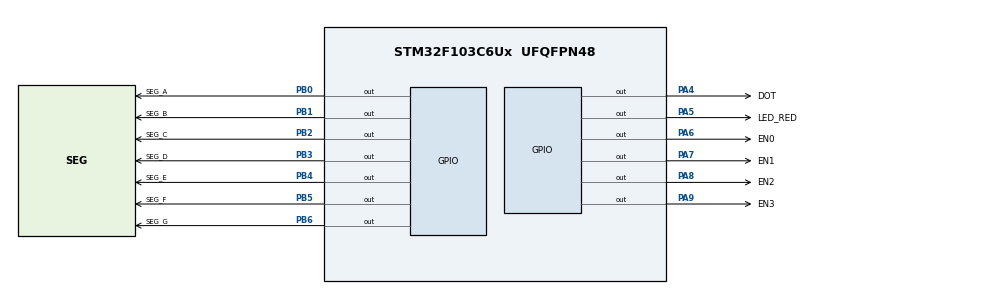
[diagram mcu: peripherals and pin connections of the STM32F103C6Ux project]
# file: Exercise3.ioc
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Mcu.Family=STM32F1
Mcu.Name=STM32F103C6Ux
Mcu.Package=UFQFPN48
NVIC.PriorityGroup=NVIC_PRIORITYGROUP_4
NVIC.TIM2_IRQn=true\:0\:0\:false\:false\:true\:true\:true
PA4.GPIO_Label=DOT
PA4.PinState=GPIO_PIN_SET
PA4.Signal=GPIO_Output
PA5.GPIO_Label=LED_RED
PA5.PinState=GPIO_PIN_SET
PA5.Signal=GPIO_Output
PA6.GPIO_Label=EN0
PA6.PinState=GPIO_PIN_SET
PA6.Signal=GPIO_Output
PA7.GPIO_Label=EN1
PA7.Signal=GPIO_Output
PA8.GPIO_Label=EN2
PA8.Signal=GPIO_Output
PA9.GPIO_Label=EN3
PA9.Signal=GPIO_Output
PB0.GPIO_Label=SEG_A
PB0.Signal=GPIO_Output
PB1.GPIO_Label=SEG_B
PB1.Signal=GPIO_Output
PB2.GPIO_Label=SEG_C
PB2.Signal=GPIO_Output
PB3.GPIO_Label=SEG_D
PB3.Signal=GPIO_Output
PB4.GPIO_Label=SEG_E
PB4.Signal=GPIO_Output
PB5.GPIO_Label=SEG_F
PB5.Signal=GPIO_Output
PB6.GPIO_Label=SEG_G
PB6.Signal=GPIO_Output
ProjectManager.HeapSize=0x200
ProjectManager.StackSize=0x400
ProjectManager.TargetToolchain=STM32CubeIDE
RCC.APB1Freq_Value=8000000
RCC.APB2Freq_Value=8000000
TIM2.Period=9
TIM2.Prescaler=7999
VP_SYS_VS_ND.Mode=No_Debug
VP_TIM2_VS_ClockSourceINT.Mode=Internal
board=custom

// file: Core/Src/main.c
/* USER CODE BEGIN Header */
/**
  * @file           : main.c
  * @brief          : Exercise 3 - update7SEG
  */
/* USER CODE END Header */
#include "main.h"

TIM_HandleTypeDef htim2;

/* USER CODE BEGIN PV */
const int MAX_LED = 4;
int index_led = 0;
int led_buffer[4] = {1, 2, 3, 4};

int counter = 0;        // dem so lan ngat (10ms) cho 7SEG
int led_state = 0;      // trang thai DOT
int led_counter = 0;    // dem so lan ngat cho DOT
/* USER CODE END PV */

void SystemClock_Config(void);
static void MX_GPIO_Init(void);
static void MX_TIM2_Init(void);
/* USER CODE BEGIN PFP */
void display7SEG(int num);
void update7SEG(int index);
/* USER CODE END PFP */

int main(void)
{

  HAL_Init();

  SystemClock_Config();

  MX_GPIO_Init();
  MX_TIM2_Init();
  /* USER CODE BEGIN 2 */
  // dam bao trang thai ban dau: tat het (PNP va common anode: High = tat)
  HAL_GPIO_WritePin(GPIOA, DOT_Pin|LED_RED_Pin|EN0_Pin|EN1_Pin|EN2_Pin|EN3_Pin, GPIO_PIN_SET);
  HAL_GPIO_WritePin(GPIOB, SEG_A_Pin|SEG_B_Pin|SEG_C_Pin|SEG_D_Pin
                          |SEG_E_Pin|SEG_F_Pin|SEG_G_Pin, GPIO_PIN_SET);
  HAL_TIM_Base_Start_IT(&htim2);
  /* USER CODE END 2 */

  while (1)
  {

  }
}

void SystemClock_Config(void)
{
  RCC_OscInitTypeDef RCC_OscInitStruct = {0};
  RCC_ClkInitTypeDef RCC_ClkInitStruct = {0};

  RCC_OscInitStruct.OscillatorType = RCC_OSCILLATORTYPE_HSI;
  RCC_OscInitStruct.HSIState = RCC_HSI_ON;
  RCC_OscInitStruct.HSICalibrationValue = RCC_HSICALIBRATION_DEFAULT;
  RCC_OscInitStruct.PLL.PLLState = RCC_PLL_NONE;
  if (HAL_RCC_OscConfig(&RCC_OscInitStruct) != HAL_OK)
  {
    Error_Handler();
  }
  RCC_ClkInitStruct.ClockType = RCC_CLOCKTYPE_HCLK|RCC_CLOCKTYPE_SYSCLK
                              |RCC_CLOCKTYPE_PCLK1|RCC_CLOCKTYPE_PCLK2;
  RCC_ClkInitStruct.SYSCLKSource = RCC_SYSCLKSOURCE_HSI;
  RCC_ClkInitStruct.AHBCLKDivider = RCC_SYSCLK_DIV1;
  RCC_ClkInitStruct.APB1CLKDivider = RCC_HCLK_DIV1;
  RCC_ClkInitStruct.APB2CLKDivider = RCC_HCLK_DIV1;

  if (HAL_RCC_ClockConfig(&RCC_ClkInitStruct, FLASH_LATENCY_0) != HAL_OK)
  {
    Error_Handler();
  }
}

static void MX_TIM2_Init(void)
{
  TIM_ClockConfigTypeDef sClockSourceConfig = {0};
  TIM_MasterConfigTypeDef sMasterConfig = {0};

  htim2.Instance = TIM2;
  htim2.Init.Prescaler = 7999;
  htim2.Init.CounterMode = TIM_COUNTERMODE_UP;
  htim2.Init.Period = 9;
  htim2.Init.ClockDivision = TIM_CLOCKDIVISION_DIV1;
  htim2.Init.AutoReloadPreload = TIM_AUTORELOAD_PRELOAD_DISABLE;
  if (HAL_TIM_Base_Init(&htim2) != HAL_OK)
  {
    Error_Handler();
  }
  sClockSourceConfig.ClockSource = TIM_CLOCKSOURCE_INTERNAL;
  if (HAL_TIM_ConfigClockSource(&htim2, &sClockSourceConfig) != HAL_OK)
  {
    Error_Handler();
  }
  sMasterConfig.MasterOutputTrigger = TIM_TRGO_RESET;
  sMasterConfig.MasterSlaveMode = TIM_MASTERSLAVEMODE_DISABLE;
  if (HAL_TIMEx_MasterConfigSynchronization(&htim2, &sMasterConfig) != HAL_OK)
  {
    Error_Handler();
  }
}

static void MX_GPIO_Init(void)
{
  GPIO_InitTypeDef GPIO_InitStruct = {0};

  __HAL_RCC_GPIOA_CLK_ENABLE();
  __HAL_RCC_GPIOB_CLK_ENABLE();

  HAL_GPIO_WritePin(GPIOA, DOT_Pin|LED_RED_Pin|EN0_Pin, GPIO_PIN_SET);
  HAL_GPIO_WritePin(GPIOA, EN1_Pin|EN2_Pin|EN3_Pin, GPIO_PIN_RESET);
  HAL_GPIO_WritePin(GPIOB, SEG_A_Pin|SEG_B_Pin|SEG_C_Pin|SEG_D_Pin
                          |SEG_E_Pin|SEG_F_Pin|SEG_G_Pin, GPIO_PIN_RESET);

  GPIO_InitStruct.Pin = DOT_Pin|LED_RED_Pin|EN0_Pin|EN1_Pin
                          |EN2_Pin|EN3_Pin;
  GPIO_InitStruct.Mode = GPIO_MODE_OUTPUT_PP;
  GPIO_InitStruct.Pull = GPIO_NOPULL;
  GPIO_InitStruct.Speed = GPIO_SPEED_FREQ_LOW;
  HAL_GPIO_Init(GPIOA, &GPIO_InitStruct);

  GPIO_InitStruct.Pin = SEG_A_Pin|SEG_B_Pin|SEG_C_Pin|SEG_D_Pin
                          |SEG_E_Pin|SEG_F_Pin|SEG_G_Pin;
  GPIO_InitStruct.Mode = GPIO_MODE_OUTPUT_PP;
  GPIO_InitStruct.Pull = GPIO_NOPULL;
  GPIO_InitStruct.Speed = GPIO_SPEED_FREQ_LOW;
  HAL_GPIO_Init(GPIOB, &GPIO_InitStruct);
}

/* USER CODE BEGIN 4 */

// display7SEG tu Lab 1 (common anode: RESET = sang)
void display7SEG(int num)
{
    if (num == 0) {
        HAL_GPIO_WritePin(GPIOB, SEG_A_Pin, GPIO_PIN_RESET);
        HAL_GPIO_WritePin(GPIOB, SEG_B_Pin, GPIO_PIN_RESET);
        HAL_GPIO_WritePin(GPIOB, SEG_C_Pin, GPIO_PIN_RESET);
        HAL_GPIO_WritePin(GPIOB, SEG_D_Pin, GPIO_PIN_RESET);
        HAL_GPIO_WritePin(GPIOB, SEG_E_Pin, GPIO_PIN_RESET);
        HAL_GPIO_WritePin(GPIOB, SEG_F_Pin, GPIO_PIN_RESET);
        HAL_GPIO_WritePin(GPIOB, SEG_G_Pin, GPIO_PIN_SET);
    }
    else if (num == 1) {
        HAL_GPIO_WritePin(GPIOB, SEG_A_Pin, GPIO_PIN_SET);
        HAL_GPIO_WritePin(GPIOB, SEG_B_Pin, GPIO_PIN_RESET);
        HAL_GPIO_WritePin(GPIOB, SEG_C_Pin, GPIO_PIN_RESET);
        HAL_GPIO_WritePin(GPIOB, SEG_D_Pin, GPIO_PIN_SET);
        HAL_GPIO_WritePin(GPIOB, SEG_E_Pin, GPIO_PIN_SET);
        HAL_GPIO_WritePin(GPIOB, SEG_F_Pin, GPIO_PIN_SET);
        HAL_GPIO_WritePin(GPIOB, SEG_G_Pin, GPIO_PIN_SET);
    }
    else if (num == 2) {
        HAL_GPIO_WritePin(GPIOB, SEG_A_Pin, GPIO_PIN_RESET);
        HAL_GPIO_WritePin(GPIOB, SEG_B_Pin, GPIO_PIN_RESET);
        HAL_GPIO_WritePin(GPIOB, SEG_C_Pin, GPIO_PIN_SET);
        HAL_GPIO_WritePin(GPIOB, SEG_D_Pin, GPIO_PIN_RESET);
        HAL_GPIO_WritePin(GPIOB, SEG_E_Pin, GPIO_PIN_RESET);
        HAL_GPIO_WritePin(GPIOB, SEG_F_Pin, GPIO_PIN_SET);
        HAL_GPIO_WritePin(GPIOB, SEG_G_Pin, GPIO_PIN_RESET);
    }
    else if (num == 3) {
        HAL_GPIO_WritePin(GPIOB, SEG_A_Pin, GPIO_PIN_RESET);
        HAL_GPIO_WritePin(GPIOB, SEG_B_Pin, GPIO_PIN_RESET);
        HAL_GPIO_WritePin(GPIOB, SEG_C_Pin, GPIO_PIN_RESET);
        HAL_GPIO_WritePin(GPIOB, SEG_D_Pin, GPIO_PIN_RESET);
        HAL_GPIO_WritePin(GPIOB, SEG_E_Pin, GPIO_PIN_SET);
        HAL_GPIO_WritePin(GPIOB, SEG_F_Pin, GPIO_PIN_SET);
        HAL_GPIO_WritePin(GPIOB, SEG_G_Pin, GPIO_PIN_RESET);
    }
    else if (num == 4) {
        HAL_GPIO_WritePin(GPIOB, SEG_A_Pin, GPIO_PIN_SET);
        HAL_GPIO_WritePin(GPIOB, SEG_B_Pin, GPIO_PIN_RESET);
        HAL_GPIO_WritePin(GPIOB, SEG_C_Pin, GPIO_PIN_RESET);
        HAL_GPIO_WritePin(GPIOB, SEG_D_Pin, GPIO_PIN_SET);
        HAL_GPIO_WritePin(GPIOB, SEG_E_Pin, GPIO_PIN_SET);
        HAL_GPIO_WritePin(GPIOB, SEG_F_Pin, GPIO_PIN_RESET);
        HAL_GPIO_WritePin(GPIOB, SEG_G_Pin, GPIO_PIN_RESET);
    }
    else if (num == 5) {
        HAL_GPIO_WritePin(GPIOB, SEG_A_Pin, GPIO_PIN_RESET);
        HAL_GPIO_WritePin(GPIOB, SEG_B_Pin, GPIO_PIN_SET);
        HAL_GPIO_WritePin(GPIOB, SEG_C_Pin, GPIO_PIN_RESET);
        HAL_GPIO_WritePin(GPIOB, SEG_D_Pin, GPIO_PIN_RESET);
        HAL_GPIO_WritePin(GPIOB, SEG_E_Pin, GPIO_PIN_SET);
        HAL_GPIO_WritePin(GPIOB, SEG_F_Pin, GPIO_PIN_RESET);
        HAL_GPIO_WritePin(GPIOB, SEG_G_Pin, GPIO_PIN_RESET);
    }
    else if (num == 6) {
        HAL_GPIO_WritePin(GPIOB, SEG_A_Pin, GPIO_PIN_RESET);
        HAL_GPIO_WritePin(GPIOB, SEG_B_Pin, GPIO_PIN_SET);
        HAL_GPIO_WritePin(GPIOB, SEG_C_Pin, GPIO_PIN_RESET);
        HAL_GPIO_WritePin(GPIOB, SEG_D_Pin, GPIO_PIN_RESET);
        HAL_GPIO_WritePin(GPIOB, SEG_E_Pin, GPIO_PIN_RESET);
        HAL_GPIO_WritePin(GPIOB, SEG_F_Pin, GPIO_PIN_RESET);
        HAL_GPIO_WritePin(GPIOB, SEG_G_Pin, GPIO_PIN_RESET);
    }
    else if (num == 7) {
        HAL_GPIO_WritePin(GPIOB, SEG_A_Pin, GPIO_PIN_RESET);
        HAL_GPIO_WritePin(GPIOB, SEG_B_Pin, GPIO_PIN_RESET);
        HAL_GPIO_WritePin(GPIOB, SEG_C_Pin, GPIO_PIN_RESET);
        HAL_GPIO_WritePin(GPIOB, SEG_D_Pin, GPIO_PIN_SET);
        HAL_GPIO_WritePin(GPIOB, SEG_E_Pin, GPIO_PIN_SET);
        HAL_GPIO_WritePin(GPIOB, SEG_F_Pin, GPIO_PIN_SET);
        HAL_GPIO_WritePin(GPIOB, SEG_G_Pin, GPIO_PIN_SET);
    }
    else if (num == 8) {
        HAL_GPIO_WritePin(GPIOB, SEG_A_Pin, GPIO_PIN_RESET);
        HAL_GPIO_WritePin(GPIOB, SEG_B_Pin, GPIO_PIN_RESET);
        HAL_GPIO_WritePin(GPIOB, SEG_C_Pin, GPIO_PIN_RESET);
        HAL_GPIO_WritePin(GPIOB, SEG_D_Pin, GPIO_PIN_RESET);
        HAL_GPIO_WritePin(GPIOB, SEG_E_Pin, GPIO_PIN_RESET);
        HAL_GPIO_WritePin(GPIOB, SEG_F_Pin, GPIO_PIN_RESET);
        HAL_GPIO_WritePin(GPIOB, SEG_G_Pin, GPIO_PIN_RESET);
    }
    else if (num == 9) {
        HAL_GPIO_WritePin(GPIOB, SEG_A_Pin, GPIO_PIN_RESET);
        HAL_GPIO_WritePin(GPIOB, SEG_B_Pin, GPIO_PIN_RESET);
        HAL_GPIO_WritePin(GPIOB, SEG_C_Pin, GPIO_PIN_RESET);
        HAL_GPIO_WritePin(GPIOB, SEG_D_Pin, GPIO_PIN_RESET);
        HAL_GPIO_WritePin(GPIOB, SEG_E_Pin, GPIO_PIN_SET);
        HAL_GPIO_WritePin(GPIOB, SEG_F_Pin, GPIO_PIN_RESET);
        HAL_GPIO_WritePin(GPIOB, SEG_G_Pin, GPIO_PIN_RESET);
    }
    else {
        HAL_GPIO_WritePin(GPIOB, SEG_A_Pin, GPIO_PIN_SET);
        HAL_GPIO_WritePin(GPIOB, SEG_B_Pin, GPIO_PIN_SET);
        HAL_GPIO_WritePin(GPIOB, SEG_C_Pin, GPIO_PIN_SET);
        HAL_GPIO_WritePin(GPIOB, SEG_D_Pin, GPIO_PIN_SET);
        HAL_GPIO_WritePin(GPIOB, SEG_E_Pin, GPIO_PIN_SET);
        HAL_GPIO_WritePin(GPIOB, SEG_F_Pin, GPIO_PIN_SET);
        HAL_GPIO_WritePin(GPIOB, SEG_G_Pin, GPIO_PIN_SET);
    }
}

// Report 1: update7SEG
void update7SEG(int index)
{
    // tat het 4 LED roi bat LED can hien
    HAL_GPIO_WritePin(GPIOA, EN0_Pin|EN1_Pin|EN2_Pin|EN3_Pin, GPIO_PIN_SET);
    switch (index) {
        case 0:   // 7SEG thu nhat hien led_buffer[0]
            display7SEG(led_buffer[0]);
            HAL_GPIO_WritePin(EN0_GPIO_Port, EN0_Pin, GPIO_PIN_RESET);
            break;
        case 1:   // 7SEG thu hai hien led_buffer[1]
            display7SEG(led_buffer[1]);
            HAL_GPIO_WritePin(EN1_GPIO_Port, EN1_Pin, GPIO_PIN_RESET);
            break;
        case 2:   // 7SEG thu ba hien led_buffer[2]
            display7SEG(led_buffer[2]);
            HAL_GPIO_WritePin(EN2_GPIO_Port, EN2_Pin, GPIO_PIN_RESET);
            break;
        case 3:   // 7SEG thu tu hien led_buffer[3]
            display7SEG(led_buffer[3]);
            HAL_GPIO_WritePin(EN3_GPIO_Port, EN3_Pin, GPIO_PIN_RESET);
            break;
        default:
            break;
    }
}

// Report 2: HAL_TIM_PeriodElapsedCallback
void HAL_TIM_PeriodElapsedCallback(TIM_HandleTypeDef *htim)
{
    if (htim->Instance != TIM2) return;

    // ---- 4 LED 7 doan: moi LED 500ms (50 x 10ms) ----
    counter++;
    if (counter >= 50) {
        counter = 0;
        update7SEG(index_led++);
        if (index_led >= MAX_LED) index_led = 0;
    }

    // ---- DOT (PA4): doi trang thai moi 1s (100 x 10ms) ----
    led_counter++;
    if (led_counter >= 100) {
        led_counter = 0;
        HAL_GPIO_TogglePin(DOT_GPIO_Port, DOT_Pin);
    }
}
/* USER CODE END 4 */

void Error_Handler(void)
{
  __disable_irq();
  while (1)
  {
  }
}
